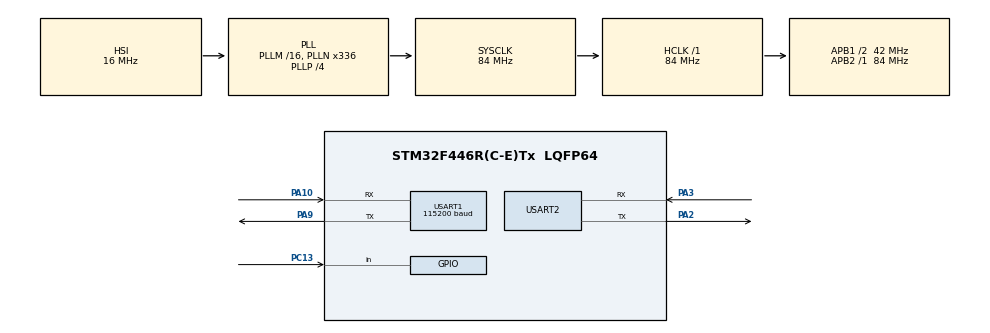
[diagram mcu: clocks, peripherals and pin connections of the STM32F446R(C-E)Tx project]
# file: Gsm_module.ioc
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Mcu.Family=STM32F4
Mcu.Name=STM32F446R(C-E)Tx
Mcu.Package=LQFP64
NVIC.PriorityGroup=NVIC_PRIORITYGROUP_0
PA10.Mode=Asynchronous
PA10.Signal=USART1_RX
PA13.Mode=Serial_Wire
PA13.Signal=SYS_JTMS-SWDIO
PA14.Mode=Serial_Wire
PA14.Signal=SYS_JTCK-SWCLK
PA2.Mode=Asynchronous
PA2.Signal=USART2_TX
PA3.Mode=Asynchronous
PA3.Signal=USART2_RX
PA9.Mode=Asynchronous
PA9.Signal=USART1_TX
PC13.Signal=GPIO_Input
PH0-OSC_IN.Mode=HSE-External-Oscillator
PH0-OSC_IN.Signal=RCC_OSC_IN
PH1-OSC_OUT.Mode=HSE-External-Oscillator
PH1-OSC_OUT.Signal=RCC_OSC_OUT
ProjectManager.HeapSize=0x200
ProjectManager.StackSize=0x400
ProjectManager.TargetToolchain=STM32CubeIDE
RCC.48MHZClocksFreq_Value=84000000
RCC.AHBFreq_Value=84000000
RCC.APB1CLKDivider=RCC_HCLK_DIV2
RCC.APB1Freq_Value=42000000
RCC.APB1TimFreq_Value=84000000
RCC.APB2Freq_Value=84000000
RCC.APB2TimFreq_Value=84000000
RCC.CortexFreq_Value=84000000
RCC.FLatency-AdvancedSettings=FLASH_LATENCY_2
RCC.HCLKFreq_Value=84000000
RCC.HSE_VALUE=8000000
RCC.HSI_VALUE=16000000
RCC.PLLN=336
RCC.PLLP=RCC_PLLP_DIV4
RCC.SYSCLKFreq_VALUE=84000000
RCC.SYSCLKSource=RCC_SYSCLKSOURCE_PLLCLK
RCC.USBFreq_Value=168000000
RCC.VCOOutputFreq_Value=336000000
USART1.BaudRate=115200
USART1.VirtualMode=VM_ASYNC
USART2.VirtualMode=VM_ASYNC
board=NUCLEO-F446RE

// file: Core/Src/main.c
/* USER CODE BEGIN Header */
/**
  ******************************************************************************
  * @file           : main.c
  * @brief          : Main program body
  ******************************************************************************
  * @attention
  *
  * Copyright (c) 2026 STMicroelectronics.
  * All rights reserved.
  *
  * This software is licensed under terms that can be found in the LICENSE file
  * in the root directory of this software component.
  * If no LICENSE file comes with this software, it is provided AS-IS.
  *
  ******************************************************************************
  */
/* USER CODE END Header */
#include "main.h"

/* USER CODE BEGIN Includes */
#include "string.h"
#include "stdio.h"
/* USER CODE END Includes */

UART_HandleTypeDef huart1;
UART_HandleTypeDef huart2;

/* USER CODE BEGIN PV */
uint8_t button;
/* USER CODE END PV */

void SystemClock_Config(void);
static void MX_GPIO_Init(void);
static void MX_USART1_UART_Init(void);
static void MX_USART2_UART_Init(void);

int main(void)
{

  /* MCU Configuration--------------------------------------------------------*/

  /* Reset of all peripherals, Initializes the Flash interface and the Systick. */
  HAL_Init();

  /* Configure the system clock */
  SystemClock_Config();

  /* Initialize all configured peripherals */
  MX_GPIO_Init();
  MX_USART1_UART_Init();
  MX_USART2_UART_Init();

  /* Infinite loop */
  while (1)
  {

    /* USER CODE BEGIN 3 */
	  button=HAL_GPIO_ReadPin(GPIOC, GPIO_PIN_13);
	  if(button==0)
	  {

		  /*GSM_SendSMS("+918220540589", "Hello from STM32");     // enable this to send SMS
		  HAL_Delay(500);*/

		  GSM_HangUp();      // End previous call if any
		  HAL_Delay(500);
                                                                  // enable this to make call
		  GSM_MakeCall("+918220540589");
		  HAL_Delay(5000);
	  }
  }
  /* USER CODE END 3 */
}

void SystemClock_Config(void)
{
  RCC_OscInitTypeDef RCC_OscInitStruct = {0};
  RCC_ClkInitTypeDef RCC_ClkInitStruct = {0};

  /** Configure the main internal regulator output voltage
  */
  __HAL_RCC_PWR_CLK_ENABLE();
  __HAL_PWR_VOLTAGESCALING_CONFIG(PWR_REGULATOR_VOLTAGE_SCALE3);

  /** Initializes the RCC Oscillators according to the specified parameters
  * in the RCC_OscInitTypeDef structure.
  */
  RCC_OscInitStruct.OscillatorType = RCC_OSCILLATORTYPE_HSI;
  RCC_OscInitStruct.HSIState = RCC_HSI_ON;
  RCC_OscInitStruct.HSICalibrationValue = RCC_HSICALIBRATION_DEFAULT;
  RCC_OscInitStruct.PLL.PLLState = RCC_PLL_ON;
  RCC_OscInitStruct.PLL.PLLSource = RCC_PLLSOURCE_HSI;
  RCC_OscInitStruct.PLL.PLLM = 16;
  RCC_OscInitStruct.PLL.PLLN = 336;
  RCC_OscInitStruct.PLL.PLLP = RCC_PLLP_DIV4;
  RCC_OscInitStruct.PLL.PLLQ = 2;
  RCC_OscInitStruct.PLL.PLLR = 2;
  if (HAL_RCC_OscConfig(&RCC_OscInitStruct) != HAL_OK)
  {
    Error_Handler();
  }

  /** Initializes the CPU, AHB and APB buses clocks
  */
  RCC_ClkInitStruct.ClockType = RCC_CLOCKTYPE_HCLK|RCC_CLOCKTYPE_SYSCLK
                              |RCC_CLOCKTYPE_PCLK1|RCC_CLOCKTYPE_PCLK2;
  RCC_ClkInitStruct.SYSCLKSource = RCC_SYSCLKSOURCE_PLLCLK;
  RCC_ClkInitStruct.AHBCLKDivider = RCC_SYSCLK_DIV1;
  RCC_ClkInitStruct.APB1CLKDivider = RCC_HCLK_DIV2;
  RCC_ClkInitStruct.APB2CLKDivider = RCC_HCLK_DIV1;

  if (HAL_RCC_ClockConfig(&RCC_ClkInitStruct, FLASH_LATENCY_2) != HAL_OK)
  {
    Error_Handler();
  }
}

static void MX_USART1_UART_Init(void)
{

  huart1.Instance = USART1;
  huart1.Init.BaudRate = 115200;
  huart1.Init.WordLength = UART_WORDLENGTH_8B;
  huart1.Init.StopBits = UART_STOPBITS_1;
  huart1.Init.Parity = UART_PARITY_NONE;
  huart1.Init.Mode = UART_MODE_TX_RX;
  huart1.Init.HwFlowCtl = UART_HWCONTROL_NONE;
  huart1.Init.OverSampling = UART_OVERSAMPLING_16;
  if (HAL_UART_Init(&huart1) != HAL_OK)
  {
    Error_Handler();
  }

}

static void MX_USART2_UART_Init(void)
{

  huart2.Instance = USART2;
  huart2.Init.BaudRate = 115200;
  huart2.Init.WordLength = UART_WORDLENGTH_8B;
  huart2.Init.StopBits = UART_STOPBITS_1;
  huart2.Init.Parity = UART_PARITY_NONE;
  huart2.Init.Mode = UART_MODE_TX_RX;
  huart2.Init.HwFlowCtl = UART_HWCONTROL_NONE;
  huart2.Init.OverSampling = UART_OVERSAMPLING_16;
  if (HAL_UART_Init(&huart2) != HAL_OK)
  {
    Error_Handler();
  }

}

static void MX_GPIO_Init(void)
{
  GPIO_InitTypeDef GPIO_InitStruct = {0};

  /* GPIO Ports Clock Enable */
  __HAL_RCC_GPIOC_CLK_ENABLE();
  __HAL_RCC_GPIOH_CLK_ENABLE();
  __HAL_RCC_GPIOA_CLK_ENABLE();

  /*Configure GPIO pin : PC13 */
  GPIO_InitStruct.Pin = GPIO_PIN_13;
  GPIO_InitStruct.Mode = GPIO_MODE_INPUT;
  GPIO_InitStruct.Pull = GPIO_NOPULL;
  HAL_GPIO_Init(GPIOC, &GPIO_InitStruct);

}

/* USER CODE BEGIN 4 */
void GSM_SendSMS(char *number, char *message) {
	char cmd[50];

	HAL_UART_Transmit(&huart1, (uint8_t*) "AT+CMGF=1\r\n",
			strlen("AT+CMGF=1\r\n"), 1000);

	HAL_Delay(1000);

	sprintf(cmd, "AT+CMGS=\"%s\"\r\n", number);

	HAL_UART_Transmit(&huart1, (uint8_t*) cmd, strlen(cmd), 1000);

	HAL_Delay(1000);

	HAL_UART_Transmit(&huart1, (uint8_t*) message, strlen(message), 1000);

	HAL_Delay(500);

	uint8_t ctrlZ = 26;

	HAL_UART_Transmit(&huart1, &ctrlZ, 1, 1000);
}

void GSM_MakeCall(char *number) {
	char cmd[50];

	sprintf(cmd, "ATD%s;\r\n", number);

	HAL_UART_Transmit(&huart1, (uint8_t*) cmd, strlen(cmd), 1000);
}

void GSM_HangUp(void)
{
	HAL_UART_Transmit(&huart1, (uint8_t*) "ATH\r\n", strlen("ATH\r\n"), 1000);
}
/* USER CODE END 4 */

void Error_Handler(void)
{
  __disable_irq();
  while (1)
  {
  }
}
